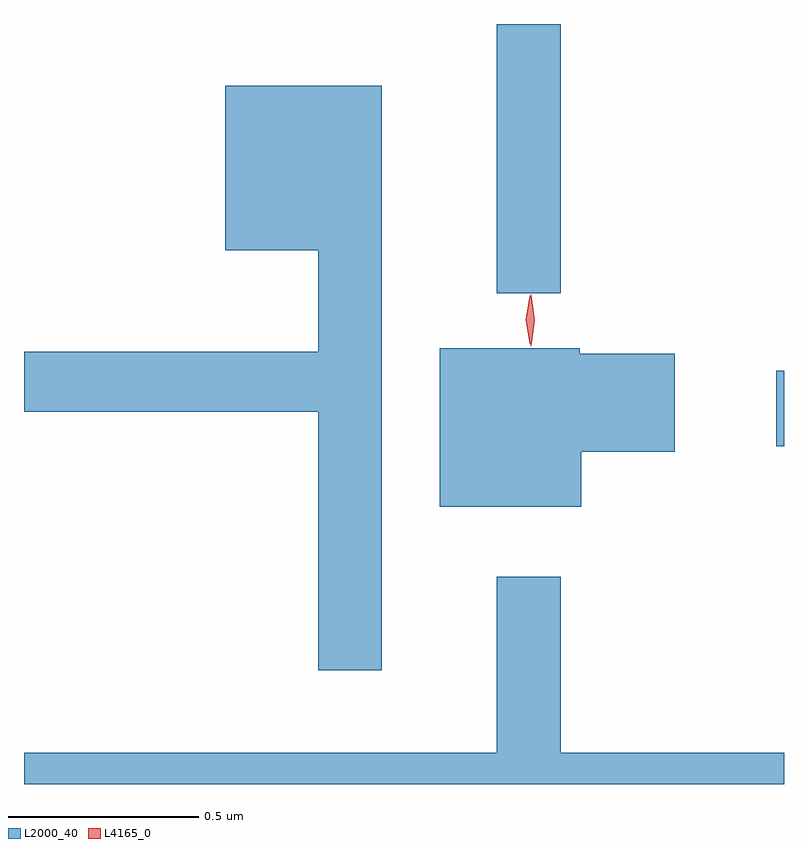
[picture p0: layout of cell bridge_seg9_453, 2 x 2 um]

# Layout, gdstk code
import gdstk
lib = gdstk.Library(unit=1e-6, precision=1e-09)
def R(c, l, rs):  # rectangles x0, y0, x1, y1
    for r in rs: c.add(gdstk.rectangle(r[:2], r[2:], *l))
def P(c, l, *ps):  # polygons
    for p in ps: c.add(gdstk.Polygon(p, *l))
L2000_40 = (2000, 40)
L4165_0 = (4165, 0)

bridge_seg9_453 = lib.new_cell('bridge_seg9_453')
R(bridge_seg9_453, L2000_40, [(394.346,2072.811,394.367,2073.009), (393.611,2073.213,393.779,2073.922)])
P(bridge_seg9_453, L2000_40, [(393.309,2073.759),(392.896,2073.759),(392.896,2073.326),(393.141,2073.326),(393.141,2073.059),(392.367,2073.059),(392.367,2072.901),(393.141,2072.901),(393.141,2072.222),(393.309,2072.222)],
  [(393.834,2072.796),(394.079,2072.796),(394.079,2073.054),(393.83,2073.054),(393.83,2073.069),(393.461,2073.069),(393.461,2072.651),(393.834,2072.651)],
  [(394.367,2072.004),(393.779,2072.004),(393.779,2072.468),(393.611,2072.468),(393.611,2072.004),(392.367,2072.004),(392.367,2071.922),(394.367,2071.922)])
P(bridge_seg9_453, L4165_0, [(393.701,2073.074),(393.701,2073.075),(393.692,2073.142),(393.701,2073.21),(393.701,2073.21),(393.702,2073.21),(393.711,2073.142),(393.702,2073.075)],
  [(393.698,2073.08),(393.698,2073.08),(393.688,2073.144),(393.698,2073.206),(393.698,2073.207),(393.699,2073.206),(393.708,2073.144),(393.699,2073.08)])

lib.write_gds('bridge_seg9_453.gds')
